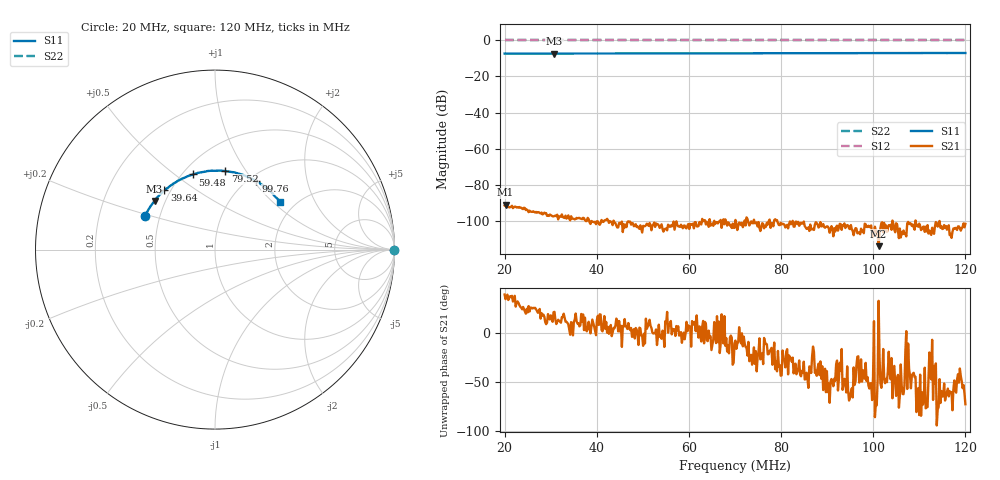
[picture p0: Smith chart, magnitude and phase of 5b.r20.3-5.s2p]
! Anritsu VNA Master:  Model: MS2036C/10/77
! SN:  1601066
! /card0/usr/18may27.balun/5b.r20.3.s2p
! Existing Calibration Information:
! TYPE:  Current Settings,  Active Cal Settings
! TIME:  05/27/2018 04:03:30 PM,  05/27/2018 03:52:12 PM
! INTERNAL TEMP:  51.5 C,  52.5 C
! # POINTS:  500,  500
! START FREQ:  20.000 MHz,  20.000 MHz
! STOP FREQ:  120.000 MHz,  120.000 MHz
! SOURCE POWER:  High,  High
! IFBW:  50 Hz,  50 Hz
! AVG FACTOR:  1 ,  1
! REF PLANE 1:  0 mm,  0 mm
! REF PLANE 2:  0 mm,  0 mm
! CAL TYPE:  Full S11,  Full S11
! CAL METHOD:  SOLT,  SOLT
! CAL LINE TYPE:  Coax,  Coax
! DUT PORT 1:  K-Conn(M),  K-Conn(M)
! DUT PORT 2:  K-Conn(M),  K-Conn(M)
! CAL STATUS:  OK: Accuracy High,  --
# GHZ S DB R 50.0
! FREQ.GHZ  S11DB  S11A  S21DB  S21A  S12DB  S12A  S22DB  S22A
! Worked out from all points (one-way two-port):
!   500 points, 20 MHz to 120 MHz, reference 50 ohm
!   highest |S21| = -91.26 dB at 20.2 MHz (marker M1); lowest = -114.2 dB at 101.2 MHz (marker M2)
!   lowest |S11| = -7.3 dB at 30.82 MHz (marker M3), VSWR 2.52, Z = 21.9 + j14.6 ohm
!   |S11| at or under -10 dB: nowhere
!   |S22| runs from 0.0 to 0.0 dB; largest |S21 - S12| = 1
!   S11 on the Smith chart (normalised r, x): 20 MHz: 0.41, +0.19; 39.64 MHz: 0.46, +0.38; 59.48 MHz: 0.56, +0.58; 79.52 MHz: 0.74, +0.81; 99.76 MHz: 1.08, +1.04; 120 MHz: 1.68, +1.11
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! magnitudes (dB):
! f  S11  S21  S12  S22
! 20 MHz  -7.3  -91.6  0.0  0.0
! 20.2 MHz  -7.3  -91.3  0.0  0.0
! 30.82 MHz  -7.3  -97.4  0.0  0.0
! 32.83 MHz  -7.2  -98.4  0.0  0.0
! 36.83 MHz  -7.3  -99.2  0.0  0.0
! 39.64 MHz  -7.2  -100.7  0.0  0.0
! 42.44 MHz  -7.3  -99.8  0.0  0.0
! 53.47 MHz  -7.2  -102.7  0.0  0.0
! 59.48 MHz  -7.2  -104.3  0.0  0.0
! 70.1 MHz  -7.1  -99.6  0.0  0.0
! 79.52 MHz  -7.1  -102.4  0.0  0.0
! 86.73 MHz  -7.1  -104.9  0.0  0.0
! 93.95 MHz  -7.1  -104.1  0.0  0.0
! 99.76 MHz  -7.0  -109.2  0.0  0.0
! 101.2 MHz  -7.0  -114.2  0.0  0.0
! 103.4 MHz  -7.0  -102.5  0.0  0.0
! 106.6 MHz  -7.0  -105.5  0.0  0.0
! 109.6 MHz  -7.0  -102.4  0.0  0.0
! 112.4 MHz  -7.0  -107.0  0.0  0.0
! 114.8 MHz  -7.0  -103.2  0.0  0.0
! 117.6 MHz  -7.0  -104.5  0.0  0.0
! 120 MHz  -7.0  -101.8  0.0  0.0
